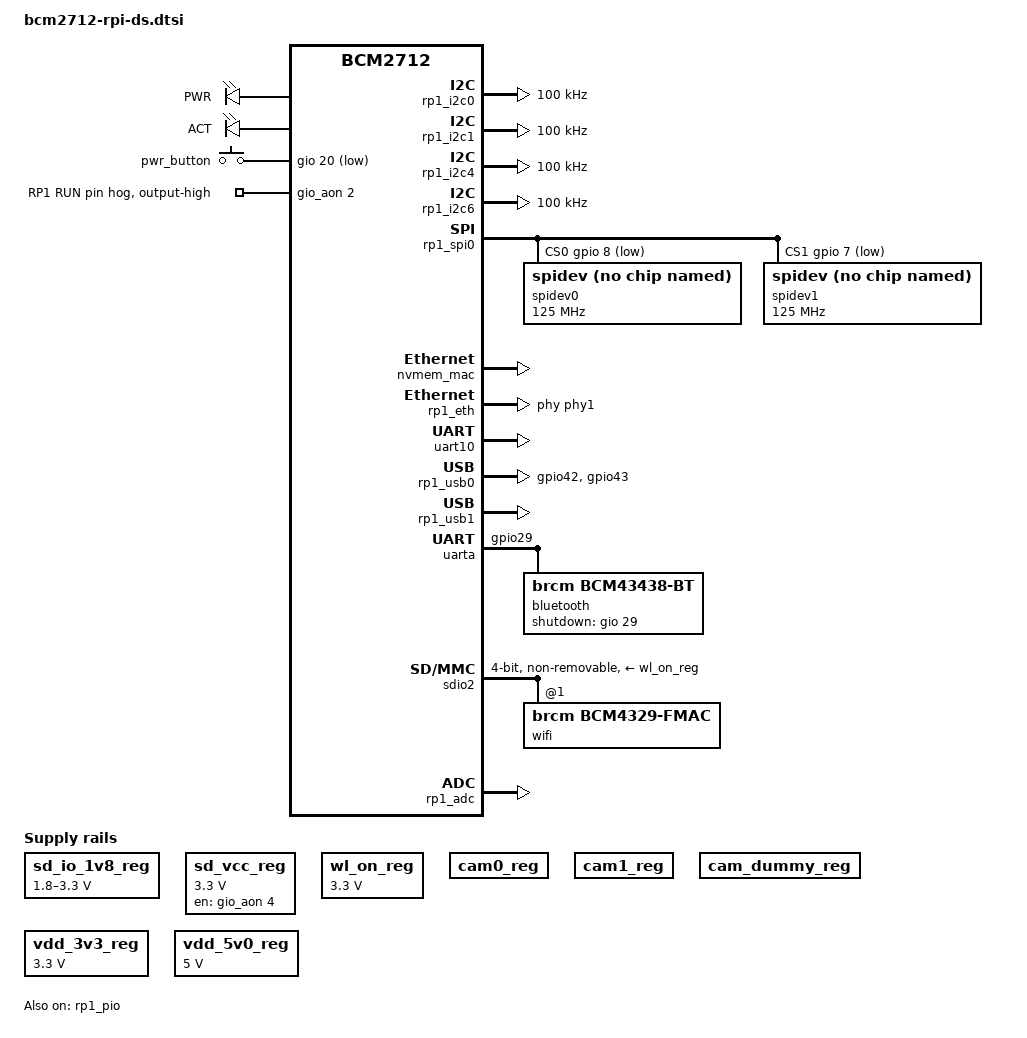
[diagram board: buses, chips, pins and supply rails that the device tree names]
// SPDX-License-Identifier: GPL-2.0

// Device tree entries that are common to all Raspberry Pi BCM2712 boards.

#include <dt-bindings/power/raspberrypi-power.h>

#define DMA_SEL_WANTHEAVY       (1 << 8)
#define DMA_SEL_ONLYHEAVY       (1 << 9)

i2c0: &rp1_i2c0 { };
i2c1: &rp1_i2c1 { };
i2c2: &rp1_i2c2 { };
i2c3: &rp1_i2c3 { };
i2c4: &rp1_i2c4 { };
i2c5: &rp1_i2c5 { };
i2c6: &rp1_i2c6 { };
i2s:  &rp1_i2s0 { };
i2s_clk_producer: &rp1_i2s0 { };
i2s_clk_consumer: &rp1_i2s1 { };
pwm0: &rp1_pwm0 { };
pwm1: &rp1_pwm1 { };
pwm: &pwm0 { };
spi0: &rp1_spi0 { };
spi1: &rp1_spi1 { };
spi2: &rp1_spi2 { };
spi3: &rp1_spi3 { };
spi4: &rp1_spi4 { };
spi5: &rp1_spi5 { };

/ {
	leds: leds {
		compatible = "gpio-leds";

		led_pwr: led-pwr {
			label = "PWR";
			default-state = "off";
			linux,default-trigger = "none";
		};

		led_act: led-act {
			label = "ACT";
			default-state = "off";
			linux,default-trigger = "mmc0";
		};
	};

	sd_io_1v8_reg: sd-io-1v8-reg {
		compatible = "regulator-gpio";
		regulator-name = "vdd-sd-io";
		regulator-min-microvolt = <1800000>;
		regulator-max-microvolt = <3300000>;
		regulator-boot-on;
		regulator-always-on;
		regulator-settling-time-us = <5000>;
		states = <1800000 1>,
			 <3300000 0>;
	};

	sd_vcc_reg: sd-vcc-reg {
		compatible = "regulator-fixed";
		regulator-name = "vcc-sd";
		regulator-min-microvolt = <3300000>;
		regulator-max-microvolt = <3300000>;
		regulator-boot-on;
		enable-active-high;
		gpios = <&gio_aon 4 GPIO_ACTIVE_HIGH>;
	};

	wl_on_reg: wl-on-reg {
		compatible = "regulator-fixed";
		regulator-name = "wl-on-regulator";
		regulator-min-microvolt = <3300000>;
		regulator-max-microvolt = <3300000>;
		pinctrl-0 = <&wl_on_pins>;
		pinctrl-names = "default";

		startup-delay-us = <150000>;
		enable-active-high;
	};

	cam1_clk: cam1_clk {
		compatible = "fixed-clock";
		#clock-cells = <0>;
		status = "disabled";
	};

	cam0_clk: cam0_clk {
		compatible = "fixed-clock";
		#clock-cells = <0>;
		status = "disabled";
	};

	cam0_reg: cam0_reg {
		compatible = "regulator-fixed";
		regulator-name = "cam0_reg";
		enable-active-high;
	};

	cam1_reg: cam1_reg {
		compatible = "regulator-fixed";
		regulator-name = "cam1_reg";
		enable-active-high;
	};

	cam_dummy_reg: cam_dummy_reg {
		compatible = "regulator-fixed";
		regulator-name = "cam-dummy-reg";
	};

	dummy: dummy {
		// A target for unwanted overlay fragments
	};


	// A few extra labels to keep overlays happy

	i2c0if: i2c0if {};
	i2c0mux: i2c0mux {};

	fan: cooling_fan {
		status = "disabled";
		compatible = "pwm-fan";
		#cooling-cells = <2>;
		cooling-min-state = <0>;
		cooling-max-state = <3>;
		cooling-levels = <0 75 125 175 250>;
		pwms = <&rp1_pwm1 3 41566 PWM_POLARITY_INVERTED>;
		rpm-regmap = <&rp1_pwm1>;
		rpm-offset = <0x3c>;
	};

	pwr_button {
		compatible = "gpio-keys";

		pinctrl-names = "default";
		pinctrl-0 = <&pwr_button_pins>;
		status = "okay";

		pwr_key: pwr {
			label = "pwr_button";
			// linux,code = <205>; // KEY_SUSPEND
			linux,code = <116>; // KEY_POWER
			gpios = <&gio 20 GPIO_ACTIVE_LOW>;
			debounce-interval = <50>; // ms
		};
	};
};

&soc {
	firmware: firmware {
		compatible = "raspberrypi,bcm2835-firmware", "simple-mfd";
		#address-cells = <1>;
		#size-cells = <1>;

		mboxes = <&mailbox>;
		dma-ranges;

		firmware_clocks: clocks {
			compatible = "raspberrypi,firmware-clocks";
			#clock-cells = <1>;
		};

		reset: reset {
			compatible = "raspberrypi,firmware-reset";
			#reset-cells = <1>;
		};

		vcio: vcio {
			compatible = "raspberrypi,vcio";
		};
	};

	power: power {
		compatible = "raspberrypi,bcm2835-power";
		firmware = <&firmware>;
		#power-domain-cells = <1>;
	};

	fb: fb {
		compatible = "brcm,bcm2708-fb";
		firmware = <&firmware>;
	};

	rpi_rtc: rpi_rtc {
		compatible = "raspberrypi,rpi-rtc";
		firmware = <&firmware>;
		trickle-charge-microvolt = <0>;
	};

	nvmem {
		compatible = "simple-bus";
		#address-cells = <1>;
		#size-cells = <1>;

		nvmem_otp: nvmem_otp {
			compatible = "raspberrypi,rpi-otp";
			firmware = <&firmware>;
			reg = <0 192>;
		};

		nvmem_cust: nvmem_cust {
			compatible = "raspberrypi,rpi-otp";
			firmware = <&firmware>;
			reg = <1 8>;
		};

		nvmem_mac: nvmem_mac {
			compatible = "raspberrypi,rpi-otp";
			firmware = <&firmware>;
			reg = <2 6>;
		};

		nvmem_priv: nvmem_priv {
			compatible = "raspberrypi,rpi-otp";
			firmware = <&firmware>;
			reg = <3 16>;
		};
	};

	/* Define these notional regulators for use by overlays, etc. */
	vdd_3v3_reg: fixedregulator_3v3 {
		compatible = "regulator-fixed";
		regulator-always-on;
		regulator-max-microvolt = <3300000>;
		regulator-min-microvolt = <3300000>;
		regulator-name = "3v3";
	};

	vdd_5v0_reg: fixedregulator_5v0 {
		compatible = "regulator-fixed";
		regulator-always-on;
		regulator-max-microvolt = <5000000>;
		regulator-min-microvolt = <5000000>;
		regulator-name = "5v0";
	};
};

&rp1_dma {
	snps,sel-require =  <DMA_SEL_WANTHEAVY DMA_SEL_WANTHEAVY 0 0 0 0 0 0>;
	snps,sel-preclude = <0 0 DMA_SEL_ONLYHEAVY DMA_SEL_ONLYHEAVY DMA_SEL_ONLYHEAVY
			     DMA_SEL_ONLYHEAVY DMA_SEL_ONLYHEAVY DMA_SEL_ONLYHEAVY>;
};

#if 0
pio: &rp1_pio {
	dmas = <&rp1_dma (RP1_DMA_PIO_CH0_TX | DMA_SEL_WANTHEAVY)>,
			<&rp1_dma (RP1_DMA_PIO_CH0_RX | DMA_SEL_WANTHEAVY)>,
			<&rp1_dma (RP1_DMA_PIO_CH1_TX | DMA_SEL_WANTHEAVY)>,
			<&rp1_dma (RP1_DMA_PIO_CH1_RX | DMA_SEL_WANTHEAVY)>,
			<&rp1_dma (RP1_DMA_PIO_CH2_TX | DMA_SEL_WANTHEAVY)>,
			<&rp1_dma (RP1_DMA_PIO_CH2_RX | DMA_SEL_WANTHEAVY)>,
			<&rp1_dma (RP1_DMA_PIO_CH3_TX | DMA_SEL_WANTHEAVY)>,
			<&rp1_dma (RP1_DMA_PIO_CH3_RX | DMA_SEL_WANTHEAVY)>;
	status = "okay";
};
#endif

&rp1_eth {
	status = "okay";
	phy-handle = <&phy1>;
	phy-reset-duration = <5>;
};

/* The Debug UART, on Rpi5 it's on JST-SH 1.0mm 3-pin connector
 * labeled "UART", i.e. the interface with the system console.
 */
&uart10 {
	status = "okay";
};

gpio: &rp1_gpio {
	status = "okay";
};

aux: &dummy {};

&rp1_usb0 {
	pinctrl-0 = <&usb_vbus_pins>;
	pinctrl-names = "default";
	status = "okay";
};

&rp1_usb1 {
	status = "okay";
};

watchdog: &pm {};

&i2c6 {
	pinctrl-0 = <&rp1_i2c6_38_39>;
	pinctrl-names = "default";
	clock-frequency = <100000>;
	symlink = "i2c-6";
};

&i2c4 {
	pinctrl-0 = <&rp1_i2c4_40_41>;
	pinctrl-names = "default";
	clock-frequency = <100000>;
	symlink = "i2c-4";
};

i2c_csi_dsi: &i2c_csi_dsi1 { }; // An alias for compatibility

csi0: &rp1_csi0 { };
csi1: &rp1_csi1 { };
dsi0: &rp1_dsi0 { };
dsi1: &rp1_dsi1 { };
dpi: &rp1_dpi { };
vec: &rp1_vec { };
dpi_gpio0:              &rp1_dpi_24bit_gpio0        { };
dpi_gpio1:              &rp1_dpi_24bit_gpio2        { };
dpi_18bit_cpadhi_gpio0: &rp1_dpi_18bit_cpadhi_gpio0 { };
dpi_18bit_cpadhi_gpio2: &rp1_dpi_18bit_cpadhi_gpio2 { };
dpi_18bit_gpio0:        &rp1_dpi_18bit_gpio0        { };
dpi_18bit_gpio2:        &rp1_dpi_18bit_gpio2        { };
dpi_16bit_cpadhi_gpio0: &rp1_dpi_16bit_cpadhi_gpio0 { };
dpi_16bit_cpadhi_gpio2: &rp1_dpi_16bit_cpadhi_gpio2 { };
dpi_16bit_gpio0:        &rp1_dpi_16bit_gpio0        { };
dpi_16bit_gpio2:        &rp1_dpi_16bit_gpio2        { };

/* Add the IOMMUs for some RP1 bus masters */

&csi0 {
	iommus = <&iommu5>;
};

&csi1 {
	iommus = <&iommu5>;
};

&dsi0 {
	iommus = <&iommu5>;
};

&dsi1 {
	iommus = <&iommu5>;
};

&dpi {
	iommus = <&iommu5>;
};

&vec {
	iommus = <&iommu5>;
};

&ddc0 {
	status = "disabled";
};

&ddc1 {
	status = "disabled";
};

&hdmi0 {
	clocks = <&firmware_clocks 13>, <&firmware_clocks 14>, <&dvp 0>, <&clk_27MHz>;
	clock-names = "hdmi", "bvb", "audio", "cec";
	status = "disabled";
};

&hdmi1 {
	clocks = <&firmware_clocks 13>, <&firmware_clocks 14>, <&dvp 1>, <&clk_27MHz>;
	clock-names = "hdmi", "bvb", "audio", "cec";
	status = "disabled";
};

&hvs {
	clocks = <&firmware_clocks 4>, <&firmware_clocks 16>;
	clock-names = "core", "disp";
};

&mop {
	status = "disabled";
};

&moplet {
	status = "disabled";
};

&pixelvalve0 {
	status = "disabled";
};

&pixelvalve1 {
	status = "disabled";
};

&disp_intr {
	status = "disabled";
};

/* uarta communicates with the BT module */
&uarta {
	uart-has-rtscts;
	auto-flow-control;
	status = "okay";
	clock-frequency = <96000000>;
	pinctrl-0 = <&uarta_24_pins &bt_shutdown_pins>;
	pinctrl-names = "default";

	bluetooth: bluetooth {
		compatible = "brcm,bcm43438-bt";
		max-speed = <3000000>;
		shutdown-gpios = <&gio 29 GPIO_ACTIVE_HIGH>;
		local-bd-address = [ 00 00 00 00 00 00 ];
	};
};

&pinctrl {
	pwr_button_pins: pwr_button_pins {
		function = "gpio";
		pins = "gpio20";
		bias-pull-up;
	};

	wl_on_pins: wl_on_pins {
		function = "gpio";
		pins = "gpio28";
	};

	bt_shutdown_pins: bt_shutdown_pins {
		function = "gpio";
		pins = "gpio29";
	};
};

/ {
	chosen: chosen {
		bootargs = "reboot=w coherent_pool=1M 8250.nr_uarts=1 pci=pcie_bus_safe cgroup_disable=memory numa_policy=interleave nvme.max_host_mem_size_mb=0";
		stdout-path = "serial10:115200n8";
	};

	aliases: aliases {
		blconfig = &blconfig;
		blpubkey = &blpubkey;
		bluetooth = &bluetooth;
		console = &uart10;
		drm-dsi1 = &dsi0;
		drm-dsi2 = &dsi1;
		ethernet0 = &rp1_eth;
		fb = &fb;
		gpio0 = &gpio;
		gpio1 = &gio;
		gpio2 = &gio_aon;
		gpio3 = &pinctrl;
		gpio4 = &pinctrl_aon;
		gpiochip0 = &gpio;
		gpiochip10 = &gio;
		i2c = &i2c_arm;
		i2c0 = &i2c0;
		i2c1 = &i2c1;
		i2c2 = &i2c2;
		i2c3 = &i2c3;
		i2c10 = &i2c_csi_dsi0;
		i2c11 = &i2c_csi_dsi1;
		i2c12 = &i2c10;
		mailbox = &mailbox;
		mmc0 = &sdio1;
		pio0 = &pio;
		serial0 = &uart0;
		serial1 = &uart1;
		serial10 = &uart10;
		serial2 = &uart2;
		serial3 = &uart3;
		serial4 = &uart4;
		spi0 = &spi0;
		spi1 = &spi1;
		spi10 = &spi10;
		spi2 = &spi2;
		spi3 = &spi3;
		spi4 = &spi4;
		spi5 = &spi5;
		uart0 = &uart0;
		uart1 = &uart1;
		uart10 = &uart10;
		uart2 = &uart2;
		uart3 = &uart3;
		uart4 = &uart4;
		usb0 = &rp1_usb0;
		usb1 = &rp1_usb1;
		watchdog = &watchdog;
		wifi0 = &wifi;
	};

	__overrides__ {
		act_led_gpio = <&led_act>,"gpios:4",<&led_act>,"gpios:0=",<&gpio>;
		act_led_activelow = <&led_act>, "gpios:8";
		act_led_trigger = <&led_act>, "linux,default-trigger";
		axiperf = <&axiperf>,"status";
		bdaddr = <&bluetooth>, "local-bd-address[";
		button_debounce = <&pwr_key>, "debounce-interval:0";
		cooling_fan = <&fan>, "status", <&rp1_pwm1>, "status";
		drm_fb0_rp1_dpi = <&aliases>, "drm-fb0=",&dpi;
		drm_fb0_rp1_dsi0 = <&aliases>, "drm-fb0=",&dsi0;
		drm_fb0_rp1_dsi1 = <&aliases>, "drm-fb0=",&dsi1;
		drm_fb0_vc4 = <&aliases>, "drm-fb0=",&vc4;
		drm_fb1_rp1_dpi = <&aliases>, "drm-fb1=",&dpi;
		drm_fb1_rp1_dsi0 = <&aliases>, "drm-fb1=",&dsi0;
		drm_fb1_rp1_dsi1 = <&aliases>, "drm-fb1=",&dsi1;
		drm_fb1_vc4 = <&aliases>, "drm-fb1=",&vc4;
		drm_fb2_rp1_dpi = <&aliases>, "drm-fb2=",&dpi;
		drm_fb2_rp1_dsi0 = <&aliases>, "drm-fb2=",&dsi0;
		drm_fb2_rp1_dsi1 = <&aliases>, "drm-fb2=",&dsi1;
		drm_fb2_vc4 = <&aliases>, "drm-fb2=",&vc4;
		eth_led0 = <&phy1>,"led-modes:0";
		eth_led1 = <&phy1>,"led-modes:4";
		fan_temp0 = <&cpu_tepid>,"temperature:0";
		fan_temp0_hyst = <&cpu_tepid>,"hysteresis:0";
		fan_temp0_speed = <&fan>, "cooling-levels:4";
		fan_temp1 = <&cpu_warm>,"temperature:0";
		fan_temp1_hyst = <&cpu_warm>,"hysteresis:0";
		fan_temp1_speed = <&fan>, "cooling-levels:8";
		fan_temp2 = <&cpu_hot>,"temperature:0";
		fan_temp2_hyst = <&cpu_hot>,"hysteresis:0";
		fan_temp2_speed = <&fan>, "cooling-levels:12";
		fan_temp3 = <&cpu_vhot>,"temperature:0";
		fan_temp3_hyst = <&cpu_vhot>,"hysteresis:0";
		fan_temp3_speed = <&fan>, "cooling-levels:16";
		i2c = <&i2c1>, "status";
		i2c_arm = <&i2c_arm>, "status";
		i2c_arm_baudrate = <&i2c_arm>, "clock-frequency:0";
		i2c_baudrate = <&i2c_arm>, "clock-frequency:0";
		i2c_csi_dsi = <&i2c_csi_dsi>, "status";
		i2c_csi_dsi0 = <&i2c_csi_dsi0>, "status";
		i2c_csi_dsi1 = <&i2c_csi_dsi1>, "status";
		i2c_vc = <&i2c_vc>, "status";
		i2c_vc_baudrate = <&i2c_vc>, "clock-frequency:0";
		i2c0 = <&i2c0>, "status";
		i2c0_baudrate = <&i2c0>, "clock-frequency:0";
		i2c1 = <&i2c1>, "status";
		i2c1_baudrate = <&i2c1>, "clock-frequency:0";
		krnbt = <&bluetooth>, "status";
		nvme = <&pciex1>, "status";
		nvmem_cust_rw = <&nvmem_cust>,"rw?";
		nvmem_mac_rw = <&nvmem_mac>,"rw?";
		nvmem_priv_rw = <&nvmem_priv>,"rw?";
		pcie_tperst_clk_ms = <&pciex1>, "brcm,tperst-clk-ms:0";
		pciex1 = <&pciex1>, "status";
		pciex1_gen = <&pciex1> , "max-link-speed:0";
		pciex1_no_l0s = <&pciex1>, "aspm-no-l0s?";
		pciex1_tperst_clk_ms = <&pciex1>, "brcm,tperst-clk-ms:0";
		pwr_led_gpio = <&led_pwr>, "gpios:4";
		pwr_led_activelow = <&led_pwr>, "gpios:8";
		pwr_led_trigger = <&led_pwr>, "linux,default-trigger";
		random = <&random>, "status";
		rtc = <&rpi_rtc>, "status";
		rtc_bbat_vchg = <&rpi_rtc>, "trickle-charge-microvolt:0";
		spi = <&spi0>, "status";
		strict_gpiod = <&chosen>, "bootargs=pinctrl_rp1.persist_gpio_outputs=n";
		suspend = <&pwr_key>, "linux,code:0=205";
		uart0 = <&uart0>, "status";
		uart0_console = <&uart0>,"status", <&aliases>, "console=",&uart0;
		uart0_dma = <&uart0>,"dmas:0=",<&rp1_dma>,
			    <&uart0>,"dmas:4=",<RP1_DMA_UART0_TX>,
			    <&uart0>,"dmas:8=",<&rp1_dma>,
			    <&uart0>,"dmas:12=",<RP1_DMA_UART0_RX>,
			    <&uart0>,"dma-names[=747800727800"; // "tx", "rx"
		watchdog = <&watchdog>, "early-watchdog?";
		wifiaddr = <&wifi>, "local-mac-address[";

		cam0_reg = <&cam0_reg>,"status";
		cam0_reg_gpio = <&cam0_reg>,"gpio:4",
				<&cam0_reg>,"gpio:0=", <&gpio>;
		cam1_reg = <&cam1_reg>,"status";
		cam1_reg_gpio = <&cam1_reg>,"gpio:4",
				<&cam1_reg>,"gpio:0=", <&gpio>;
		sd_cqe = <&sdio1>, "supports-cqe:0";
	};
};

pciex1: &pcie1 { };
pciex4: &pcie2 { };

&dma32 {
	/* The VPU firmware uses DMA channel 11 for VCHIQ */
	brcm,dma-channel-mask = <0x03f>;
};

&dma40 {
	/* The VPU firmware DMA channel 11 for VCHIQ */
	brcm,dma-channel-mask = <0x07c0>;
};

&hdmi0 {
	dmas = <&dma40 (10|(1<<30)|(1<<24)|(10<<16)|(15<<20))>;
	dma-names = "audio-rx";
};

&hdmi1 {
	dmas = <&dma40 (17|(1<<30)|(1<<24)|(10<<16)|(15<<20))>;
	dma-names = "audio-rx";
};

&spi10 {
	dmas = <&dma40 6>, <&dma40 7>;
	dma-names = "tx", "rx";
};

&usb {
	power-domains = <&power RPI_POWER_DOMAIN_USB>;
};

/* SDIO2 drives the WLAN interface */
&sdio2 {
	pinctrl-0 = <&sdio2_30_pins>;
	pinctrl-names = "default";
	bus-width = <4>;
	vmmc-supply = <&wl_on_reg>;
	sd-uhs-ddr50;
	non-removable;
	status = "okay";
	#address-cells = <1>;
	#size-cells = <0>;

	wifi: wifi@1 {
		reg = <1>;
		compatible = "brcm,bcm4329-fmac";
		local-mac-address = [00 00 00 00 00 00];
	};
};


&rmem {
	/*
	 * RPi5's co-processor will copy the board's bootloader configuration
	 * into memory for the OS to consume. It'll also update this node with
	 * its placement information.
	 */
	blconfig: nvram@0 {
		compatible = "raspberrypi,bootloader-config", "nvmem-rmem";
		#address-cells = <1>;
		#size-cells = <1>;
#if 0 //ndef FIRMWARE_UPDATED
		reg = <0x0 0x0 0x0>;
#else
		reg = <0x0 0x0 0x0 0x0>;
#endif
		no-map;
		status = "disabled";
	};
	/*
	 * RPi5 will copy the binary public key blob (if present) from the bootloader
	 * into memory for use by the OS.
	 */
	blpubkey: nvram@1 {
		compatible = "raspberrypi,bootloader-public-key", "nvmem-rmem";
		#address-cells = <1>;
		#size-cells = <1>;
#if 0 //ndef FIRMWARE_UPDATED
		reg = <0x0 0x0 0x0>;
#else
		reg = <0x0 0x0 0x0 0x0>;
#endif
		no-map;
		status = "disabled";
	};
};

&rp1_adc {
	status = "okay";
};

&rp1_mbox {
	status = "okay";
};

pio: &rp1_pio {
	dmas = <&rp1_dma (RP1_DMA_PIO_CH0_TX | DMA_SEL_WANTHEAVY)>,
			<&rp1_dma (RP1_DMA_PIO_CH0_RX | DMA_SEL_WANTHEAVY)>,
			<&rp1_dma (RP1_DMA_PIO_CH1_TX | DMA_SEL_WANTHEAVY)>,
			<&rp1_dma (RP1_DMA_PIO_CH1_RX | DMA_SEL_WANTHEAVY)>,
			<&rp1_dma (RP1_DMA_PIO_CH2_TX | DMA_SEL_WANTHEAVY)>,
			<&rp1_dma (RP1_DMA_PIO_CH2_RX | DMA_SEL_WANTHEAVY)>,
			<&rp1_dma (RP1_DMA_PIO_CH3_TX | DMA_SEL_WANTHEAVY)>,
			<&rp1_dma (RP1_DMA_PIO_CH3_RX | DMA_SEL_WANTHEAVY)>;
	status = "okay";
};

/* Add some gpiomem nodes to make the devices accessible to userspace.
 * /dev/gpiomem<n> should expose the registers for the interface with DT alias
 * gpio<n>.
 */

&rp1 {
	gpiomem@400d0000 {
		/* Export IO_BANKs, RIO_BANKs and PADS_BANKs to userspace */
		compatible = "raspberrypi,gpiomem";
		reg = <0x00 0x400d0000  0x0 0x30000>;
		chardev-name = "gpiomem0";
	};
};

&soc {
	gpiomem@7d508500 {
		compatible = "raspberrypi,gpiomem";
		reg = <0x7d508500 0x40>;
		chardev-name = "gpiomem1";
	};

	gpiomem@7d517c00 {
		compatible = "raspberrypi,gpiomem";
		reg = <0x7d517c00 0x40>;
		chardev-name = "gpiomem2";
	};

	gpiomem@7d504100 {
		compatible = "raspberrypi,gpiomem";
		reg = <0x7d504100 0x20>;
		chardev-name = "gpiomem3";
	};

	gpiomem@7d510700 {
		compatible = "raspberrypi,gpiomem";
		reg = <0x7d510700 0x20>;
		chardev-name = "gpiomem4";
	};

	sound: sound {
		status = "disabled";
	};
};

uart0_pins: &rp1_uart0_14_15 {};
uart0_ctsrts_pins: &rp1_uart0_ctsrts_16_17 {};
uart0: &rp1_uart0 {
	pinctrl-0 = <&uart0_pins>;
};

uart1_pins: &rp1_uart1_0_1 {};
uart1_ctsrts_pins: &rp1_uart1_ctsrts_2_3 {};
uart1: &rp1_uart1 { };

uart2_pins: &rp1_uart2_4_5 {};
uart2_ctsrts_pins: &rp1_uart2_ctsrts_6_7 {};
uart2: &rp1_uart2 { };

uart3_pins: &rp1_uart3_8_9 {};
uart3_ctsrts_pins: &rp1_uart3_ctsrts_10_11 {};
uart3: &rp1_uart3 { };

uart4_pins: &rp1_uart4_12_13 {};
uart4_ctsrts_pins: &rp1_uart4_ctsrts_14_15 {};
uart4: &rp1_uart4 { };

i2c0_pins: &rp1_i2c0_0_1 {};
i2c_vc: &i2c0 {      // This is pins 27,28 on the header (not MIPI)
	pinctrl-0 = <&i2c0_pins>;
	pinctrl-names = "default";
	clock-frequency = <100000>;
};

i2c1_pins: &rp1_i2c1_2_3 {};
i2c_arm: &i2c1 {
	pinctrl-names = "default";
	pinctrl-0 = <&i2c1_pins>;
	clock-frequency = <100000>;
};

i2c2_pins: &rp1_i2c2_4_5 {};
&i2c2 {
	pinctrl-names = "default";
	pinctrl-0 = <&i2c2_pins>;
};

i2c3_pins: &rp1_i2c3_6_7 {};
&i2c3 {
	pinctrl-names = "default";
	pinctrl-0 = <&i2c3_pins>;
};

&i2s_clk_producer {
	pinctrl-names = "default";
	pinctrl-0 = <&rp1_i2s0_18_21>;
};

&i2s_clk_consumer {
	pinctrl-names = "default";
	pinctrl-0 = <&rp1_i2s1_18_21>;
};

spi0_pins: &rp1_spi0_gpio9 {};
spi0_cs_pins: &rp1_spi0_cs_gpio7 {};

&spi0 {
	pinctrl-names = "default";
	pinctrl-0 = <&spi0_pins &spi0_cs_pins>;
	cs-gpios = <&gpio 8 1>, <&gpio 7 1>;

	spidev0: spidev@0 {
		compatible = "spidev";
		reg = <0>;	/* CE0 */
		#address-cells = <1>;
		#size-cells = <0>;
		spi-max-frequency = <125000000>;
	};

	spidev1: spidev@1 {
		compatible = "spidev";
		reg = <1>;	/* CE1 */
		#address-cells = <1>;
		#size-cells = <0>;
		spi-max-frequency = <125000000>;
	};
};

spi2_pins: &rp1_spi2_gpio1 {};
&spi2 {
	pinctrl-names = "default";
	pinctrl-0 = <&spi2_pins>;
};

spi3_pins: &rp1_spi3_gpio5 {};
&spi3 {
	pinctrl-names = "default";
	pinctrl-0 = <&spi3_pins>;
};

spi4_pins: &rp1_spi4_gpio9 {};
&spi4 {
	pinctrl-names = "default";
	pinctrl-0 = <&spi4_pins>;
};

spi5_pins: &rp1_spi5_gpio13 {};
&spi5 {
	pinctrl-names = "default";
	pinctrl-0 = <&spi5_pins>;
};

&gio_aon {
	// Don't use GIO_AON as an interrupt controller because it will
	// clash with the firmware monitoring the PMIC interrupt via the VPU.

	/delete-property/ interrupt-controller;
	/delete-property/ #interrupt-cells;
};

&main_aon_irq {
	// Don't use the MAIN_AON_IRQ interrupt controller because it will
	// clash with the firmware monitoring the PMIC interrupt via the VPU.

	status = "disabled";
};

&rp1_pwm1 {
	status = "disabled";
	pinctrl-0 = <&rp1_pwm1_gpio45>;
	pinctrl-names = "default";
};

&thermal_trips {
	cpu_tepid: cpu-tepid {
		temperature = <50000>;
		hysteresis = <5000>;
		type = "active";
	};

	cpu_warm: cpu-warm {
		temperature = <60000>;
		hysteresis = <5000>;
		type = "active";
	};

	cpu_hot: cpu-hot {
		temperature = <67500>;
		hysteresis = <5000>;
		type = "active";
	};

	cpu_vhot: cpu-vhot {
		temperature = <75000>;
		hysteresis = <5000>;
		type = "active";
	};
};

&cooling_maps {
	tepid {
		trip = <&cpu_tepid>;
		cooling-device = <&fan 1 1>;
	};

	warm {
		trip = <&cpu_warm>;
		cooling-device = <&fan 2 2>;
	};

	hot {
		trip = <&cpu_hot>;
		cooling-device = <&fan 3 3>;
	};

	vhot {
		trip = <&cpu_vhot>;
		cooling-device = <&fan 4 4>;
	};

	melt {
		trip = <&cpu_crit>;
		cooling-device = <&fan 4 4>;
	};
};

&gio {
	// The GPIOs above 35 are not used on Pi 5, so shrink the upper bank
	// to reduce the clutter in gpioinfo/pinctrl
	brcm,gpio-bank-widths = <32 4>;
};

&gio_aon {
	rp1_run_hog {
		gpio-hog;
		gpios = <2 GPIO_ACTIVE_HIGH>;
		output-high;
		line-name = "RP1 RUN pin";
	};
};

&rp1_gpio {
	usb_vbus_pins: usb_vbus_pins {
		function = "vbus1";
		pins = "gpio42", "gpio43";
	};
};
